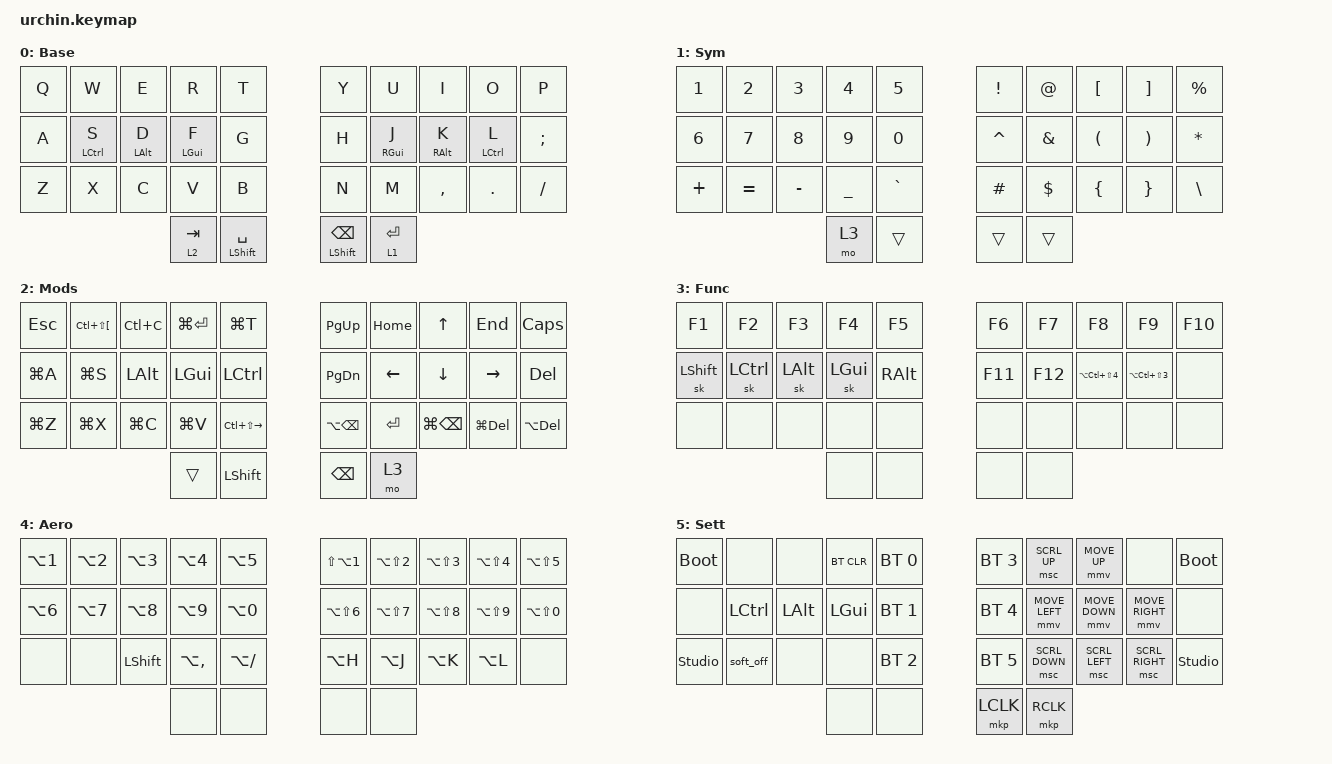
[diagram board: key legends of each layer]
/*
 * Copyright (c) 2020 duckyb
 *
 * SPDX-License-Identifier: MIT
 */

#include <behaviors.dtsi>
#include <dt-bindings/zmk/bt.h>
#include <dt-bindings/zmk/keys.h>
#include <dt-bindings/zmk/pointing.h>

// Layer definitions

#define BASE 0
#define SYM 1
#define EXT 2
#define FNC 3
#define SYM2 4
#define ACCENT 5
#define SETTINGS 6

// -----------------

&sk {
    // don't release mods on other mods presses

    ignore-modifiers;
};

/ {
    behaviors {
        // Timeless Home Row Mods - Left hand
        // Triggers on: right side keys + same-hand mod keys (for GUI+ALT combos etc.)

        hm_l: homerow_mods_left {
            compatible = "zmk,behavior-hold-tap";
            #binding-cells = <2>;
            flavor = "tap-preferred";
            tapping-term-ms = <280>;
            quick-tap-ms = <175>;
            require-prior-idle-ms = <150>;
            bindings = <&kp>, <&kp>;

            hold-trigger-on-release;
            hold-trigger-key-positions = <5 6 7 8 9 11 12 13 15 16 17 18 19 25 26 27 28 29 31 32 33>;
        };

        // Timeless Home Row Mods - Right hand
        // Triggers on: left side keys + same-hand mod keys (for GUI+ALT combos etc.)

        hm_r: homerow_mods_right {
            compatible = "zmk,behavior-hold-tap";
            #binding-cells = <2>;
            flavor = "tap-preferred";
            tapping-term-ms = <280>;
            quick-tap-ms = <175>;
            require-prior-idle-ms = <150>;
            bindings = <&kp>, <&kp>;

            hold-trigger-on-release;
            hold-trigger-key-positions = <0 1 2 3 4 10 11 12 13 14 16 17 18 20 21 22 23 24 30 31 32>;
        };

        // Legacy quick_tap behavior (kept for reference)

        qt: quick_tap {
            compatible = "zmk,behavior-hold-tap";
            label = "QUICK_TAP";
            #binding-cells = <2>;
            flavor = "hold-preferred";
            tapping-term-ms = <200>;
            quick-tap-ms = <200>;
            bindings = <&kp>, <&kp>;
        };
    };

    macros {
        // sometimes my device thinks a modifier is being held down
        // pressing all modifiers fixes it.

        unstick: unstick {
            label = "ZM_unstick";
            compatible = "zmk,behavior-macro";
            #binding-cells = <0>;
            bindings = <&kp LSHIFT &kp RSHIFT &kp LCTRL &kp RCTRL &kp LALT &kp RALT &kp LGUI &kp RGUI>;
        };
    };

    combos {
        compatible = "zmk,combos";

        // both right thumb keys
        // internal-left & external-right thumb keys

        combo_sym2 {
            timeout-ms = <200>;
            key-positions = <31 33>;
            bindings = <&mo 4>;
        };

        // both left thumb keys

        esc {
            key-positions = <1 2>;
            bindings = <&kp ESC>;
        };

        sqt {
            bindings = <&kp SQT>;
            key-positions = <6 7>;
        };

        dqt {
            bindings = <&kp DQT>;
            key-positions = <7 8>;
        };

        combo_sett_5 {
            bindings = <&mo 5>;
            key-positions = <30 31>;
        };

        grave {
            bindings = <&kp GRAVE>;
            key-positions = <21 22>;
        };

        tilde {
            bindings = <&kp TILDE>;
            key-positions = <22 23>;
        };

        slash {
            bindings = <&kp SLASH>;
            key-positions = <26 27>;
        };

        pipe {
            bindings = <&kp PIPE>;
            key-positions = <27 28>;
        };

        // left index & middle fingers (home-row)
        // hold control & space for Adobe workflowesc {};
    };

    keymap {
        compatible = "zmk,keymap";

        // Base alpha layer

        base {
            label = "Base";
            bindings = <
&kp Q  &kp W          &kp E         &kp R         &kp T             &kp Y           &kp U         &kp I         &kp O          &kp P
&kp A  &hm_l LCTRL S  &hm_l LALT D  &hm_l LGUI F  &kp G             &kp H           &hm_r RGUI J  &hm_r RALT K  &hm_r LCTRL L  &kp SEMICOLON
&kp Z  &kp X          &kp C         &kp V         &kp B             &kp N           &kp M         &kp COMMA     &kp DOT        &kp SLASH
                                    &lt 2 TAB     &qt LSHIFT SPACE  &qt LSHFT BSPC  &lt 1 ENTER
            >;
        };

        // Numbers and high frequency symbols

        sym {
            label = "Sym";
            bindings = <
&kp N1    &kp N2     &kp N3     &kp N4     &kp N5     &kp EXCLAMATION  &kp AT    &kp LBKT  &kp RBKT  &kp PRCNT
&kp N6    &kp N7     &kp N8     &kp N9     &kp N0     &kp CARET        &kp AMPS  &kp LPAR  &kp RPAR  &kp STAR
&kp PLUS  &kp EQUAL  &kp MINUS  &kp UNDER  &kp GRAVE  &kp HASH         &kp DLLR  &kp LBRC  &kp RBRC  &kp BSLH
                                &mo 3      &trans     &trans           &trans
            >;
        };

        // Main modifiers and arrow keys

        mods {
            label = "Mods";
            bindings = <
&kp ESC    &kp LC(LS(LEFT_BRACKET))  &kp LC(C)  &kp LG(ENTER)  &kp LG(T)          &kp PG_UP     &kp HOME  &kp UP        &kp END         &kp CAPS
&kp LG(A)  &kp LG(S)                 &kp LALT   &kp LGUI       &kp LCTRL          &kp PG_DN     &kp LEFT  &kp DOWN      &kp RIGHT       &kp DEL
&kp LG(Z)  &kp LG(X)                 &kp LG(C)  &kp LG(V)      &kp LC(LS(RIGHT))  &kp LA(BSPC)  &kp ENTER  &kp LG(BSPC)  &kp LG(DELETE)  &kp LA(DEL)
                                                &trans         &kp LSHFT          &kp BSPC     &mo 3
            >;
        };

        // Function keys with modifiers

        func {
            label = "Func";
            bindings = <
&kp F1     &kp F2     &kp F3    &kp F4    &kp F5    &kp F6   &kp F7   &kp F8              &kp F9              &kp F10
&sk LSHFT  &sk LCTRL  &sk LALT  &sk LGUI  &kp RALT  &kp F11  &kp F12  &kp LA(LC(LS(N4)))  &kp LA(LC(LS(N3)))  &none
&none      &none      &none     &none     &none     &none    &none    &none               &none               &none
                                &none     &none     &none    &none
            >;
        };

        // Low frequency symbols.

        aero {
            label = "Aero";
            bindings = <
&kp LA(N1)  &kp LA(N2)  &kp LA(N3)  &kp LA(N4)     &kp LA(N5)    &kp LS(LA(N1))  &kp LA(LS(N2))  &kp LA(LS(N3))  &kp LA(LS(N4))  &kp LA(LS(N5))
&kp LA(N6)  &kp LA(N7)  &kp LA(N8)  &kp LA(N9)     &kp LA(N0)    &kp LA(LS(N6))  &kp LA(LS(N7))  &kp LA(LS(N8))  &kp LA(LS(N9))  &kp LA(LS(N0))
&none       &none       &kp LSHFT   &kp LA(COMMA)  &kp LA(FSLH)  &kp LA(H)       &kp LA(J)       &kp LA(K)       &kp LA(L)       &none
                                    &none          &none         &none           &none
            >;
        };

        // Used to type regional accents.
        // Used to change the keyboard's settings.

        sett {
            label = "Sett";
            bindings = <
&bootloader     &none      &none     &bt BT_CLR  &bt BT_SEL 0  &bt BT_SEL 3  &msc SCRL_UP    &mmv MOVE_UP    &none            &bootloader
&none           &kp LCTRL  &kp LALT  &kp LGUI    &bt BT_SEL 1  &bt BT_SEL 4  &mmv MOVE_LEFT  &mmv MOVE_DOWN  &mmv MOVE_RIGHT  &none
&studio_unlock  &soft_off  &none     &none       &bt BT_SEL 2  &bt BT_SEL 5  &msc SCRL_DOWN  &msc SCRL_LEFT  &msc SCRL_RIGHT  &studio_unlock
                                     &none       &none         &mkp LCLK     &mkp RCLK
            >;
        };
    };
};
